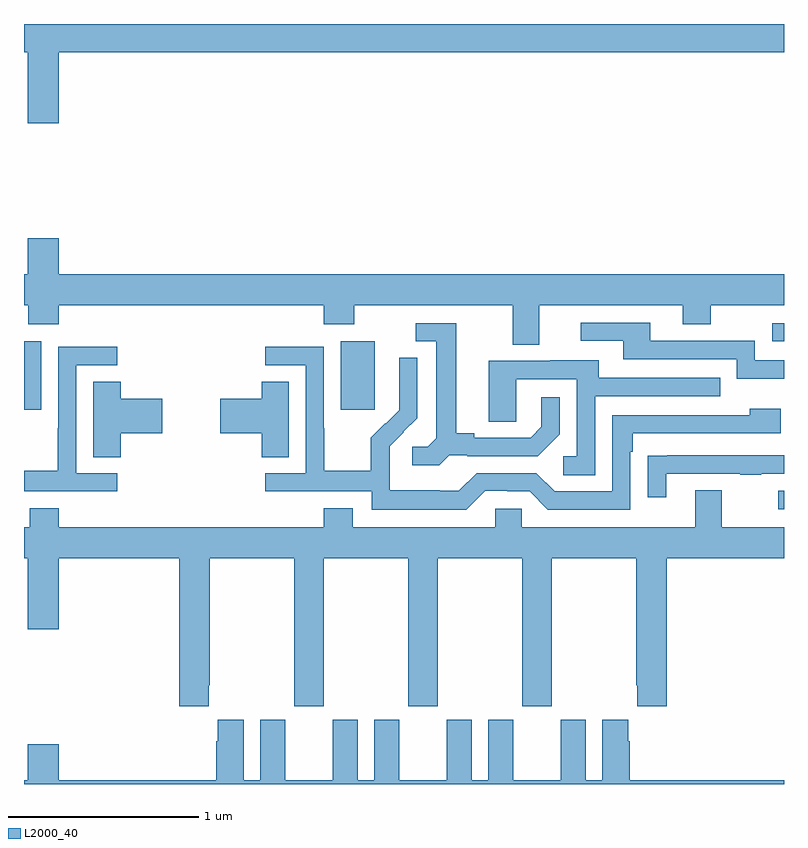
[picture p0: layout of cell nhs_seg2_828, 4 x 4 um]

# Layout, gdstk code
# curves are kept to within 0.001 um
import gdstk
lib = gdstk.Library(unit=1e-6, precision=1e-09)
def R(c, l, rs):  # rectangles x0, y0, x1, y1
    for r in rs: c.add(gdstk.rectangle(r[:2], r[2:], *l))
def P(c, l, *ps):  # polygons
    for p in ps: c.add(gdstk.Polygon(p, *l))
L2000_40 = (2000, 40)

nhs_seg2_828 = lib.new_cell('nhs_seg2_828')
R(nhs_seg2_828, L2000_40, [(156.969,629.247,157,629.343), (153,629.769,153.091,630.13), (154.667,629.769,154.846,630.13), (156.939,630.129,157,630.225)])
P(nhs_seg2_828, L2000_40, [(153.184,631.652),(157,631.652),(157,631.8),(153,631.8),(153,631.652),(153.02,631.652),(153.02,631.278),(153.184,631.278)],
  [(155.713,630.32),(156.467,630.32),(156.467,630.221),(156.615,630.221),(156.615,630.32),(157,630.32),(157,630.484),(153.184,630.484),(153.184,630.673),(153.02,630.673),(153.02,630.484),(153,630.484),(153,630.32),(153.022,630.32),(153.022,630.221),(153.182,630.221),(153.182,630.32),(154.577,630.32),(154.577,630.221),(154.737,630.221),(154.737,630.32),(155.573,630.32),(155.573,630.112),(155.713,630.112)],
  [(157,630.03),(156.846,630.03),(156.846,630.132),(156.295,630.132),(156.295,630.228),(155.931,630.228),(155.931,630.132),(156.155,630.132),(156.155,630.036),(156.75,630.036),(156.75,629.933),(157,629.933)],
  [(155.238,629.529),(155.332,629.529),(155.332,629.526),(155.704,629.526),(155.82,629.642),(155.82,629.836),(155.723,629.836),(155.723,629.679),(155.666,629.622),(155.371,629.622),(155.371,629.645),(155.275,629.645),(155.275,630.225),(155.061,630.225),(155.061,630.129),(155.171,630.129),(155.171,629.621),(155.124,629.574),(155.043,629.574),(155.043,629.477),(155.186,629.477)],
  [(153.49,629.436),(153.276,629.436),(153.276,630.003),(153.49,630.003),(153.49,630.102),(153.18,630.102),(153.18,629.672),(153.178,629.672),(153.178,629.449),(153,629.449),(153,629.34),(153.49,629.34)],
  [(155.427,629.343),(155.543,629.343),(155.543,629.34),(155.661,629.34),(155.757,629.244),(156.192,629.244),(156.192,629.549),(156.205,629.549),(156.205,629.646),(156.982,629.646),(156.982,629.776),(156.821,629.776),(156.821,629.742),(156.096,629.742),(156.096,629.34),(155.793,629.34),(155.697,629.436),(155.382,629.436),(155.289,629.343),(155.189,629.343),(155.189,629.347),(154.926,629.347),(154.926,629.481),(154.924,629.481),(154.924,629.578),(155.07,629.726),(155.07,630.044),(154.974,630.044),(154.974,629.89),(154.976,629.89),(154.976,629.768),(154.905,629.697),(154.902,629.7),(154.825,629.623),(154.825,629.449),(154.581,629.449),(154.581,629.672),(154.578,629.672),(154.578,630.102),(154.269,630.102),(154.269,630.003),(154.482,630.003),(154.482,629.436),(154.269,629.436),(154.269,629.34),(154.83,629.34),(154.83,629.243),(155.327,629.243)],
  [(156.006,629.841),(156.665,629.841),(156.665,629.937),(156.025,629.937),(156.025,630.031),(155.771,630.031),(155.771,630.027),(155.447,630.027),(155.447,629.707),(155.592,629.707),(155.592,629.931),(155.91,629.931),(155.91,629.526),(155.838,629.526),(155.838,629.425),(156.006,629.425)],
  [(153.509,629.645),(153.727,629.645),(153.727,629.828),(153.509,629.828),(153.509,629.918),(153.365,629.918),(153.365,629.521),(153.509,629.521)],
  [(154.393,629.918),(154.25,629.918),(154.25,629.828),(154.032,629.828),(154.032,629.645),(154.25,629.645),(154.25,629.521),(154.393,629.521)],
  [(156.379,629.433),(156.769,629.433),(156.769,629.428),(156.881,629.428),(156.881,629.433),(157,629.433),(157,629.529),(156.385,629.529),(156.385,629.528),(156.283,629.528),(156.283,629.31),(156.379,629.31)],
  [(153.973,628.321),(153.978,628.321),(153.978,628.988),(154.423,628.988),(154.423,628.209),(154.578,628.209),(154.578,628.988),(155.023,628.988),(155.023,628.209),(155.178,628.209),(155.178,628.988),(155.623,628.988),(155.623,628.209),(155.778,628.209),(155.778,628.988),(156.223,628.988),(156.223,628.321),(156.227,628.321),(156.227,628.209),(156.383,628.209),(156.383,628.988),(157,628.988),(157,629.152),(156.673,629.152),(156.673,629.347),(156.533,629.347),(156.533,629.152),(155.619,629.152),(155.619,629.25),(155.481,629.25),(155.481,629.152),(154.729,629.152),(154.729,629.251),(154.577,629.251),(154.577,629.152),(153.182,629.152),(153.182,629.251),(153.029,629.251),(153.029,629.152),(153,629.152),(153,628.988),(153.02,628.988),(153.02,628.614),(153.184,628.614),(153.184,628.988),(153.818,628.988),(153.818,628.209),(153.973,628.209)],
  [(157,627.82),(156.188,627.82),(156.188,628.025),(156.181,628.025),(156.181,628.138),(156.044,628.138),(156.044,627.82),(155.956,627.82),(155.956,628.138),(155.825,628.138),(155.825,627.82),(155.575,627.82),(155.575,628.138),(155.444,628.138),(155.444,627.82),(155.356,627.82),(155.356,628.138),(155.225,628.138),(155.225,627.82),(154.975,627.82),(154.975,628.138),(154.844,628.138),(154.844,627.82),(154.756,627.82),(154.756,628.138),(154.625,628.138),(154.625,627.82),(154.375,627.82),(154.375,628.138),(154.244,628.138),(154.244,627.82),(154.156,627.82),(154.156,628.138),(154.019,628.138),(154.019,628.025),(154.013,628.025),(154.013,627.82),(153.184,627.82),(153.184,628.009),(153.02,628.009),(153.02,627.82),(153,627.82),(153,627.8),(157,627.8)])

lib.write_gds('nhs_seg2_828.gds')
